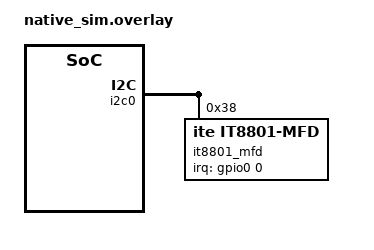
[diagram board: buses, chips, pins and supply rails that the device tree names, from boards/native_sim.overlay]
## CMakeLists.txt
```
# SPDX-License-Identifier: Apache-2.0

cmake_minimum_required(VERSION 3.20.0)
find_package(Zephyr REQUIRED HINTS $ENV{ZEPHYR_BASE})

project(input_ite_it8801_kbd)

file(GLOB app_sources src/*.c)
target_sources(app PRIVATE ${app_sources})
```

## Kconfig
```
# Copyright (c) 2026 Intel Corporation
# SPDX-License-Identifier: Apache-2.0

source "Kconfig.zephyr"
```

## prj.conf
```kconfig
# SPDX-License-Identifier: Apache-2.0

CONFIG_ZTEST=y

CONFIG_GPIO=y
CONFIG_I2C=y
CONFIG_EMUL=y

CONFIG_INPUT=y
CONFIG_INPUT_MODE_SYNCHRONOUS=y
CONFIG_INPUT_ITE_IT8801_KBD=y

CONFIG_MFD=y

CONFIG_PM_DEVICE=y
```

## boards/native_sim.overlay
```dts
/*
 * Copyright (c) 2026 Intel Corporation
 *
 * SPDX-License-Identifier: Apache-2.0
 */

#include <zephyr/dt-bindings/mfd/mfd_it8801_altctrl.h>

/ {
	it8801-mfd {
		#address-cells = <1>;
		#size-cells = <1>;

		it8801_gpio0: gpiocr@0a {
			compatible = "ite,it8801-altctrl";
			reg = <0x0a 8>;
			#altctrl-cells = <2>;
		};
	};

	it8801-mfd-map {
		compatible = "ite,it8801-mfd-map";

		kso18_gp01_default: kso18_gp01_default {
			altctrls = <&it8801_gpio0 1 IT8801_ALT_FUNC_2>;
		};
	};
};

&i2c0 {
	it8801_mfd: it8801@38 {
		compatible = "ite,it8801-mfd";
		reg = <0x38>;
		irq-gpios = <&gpio0 0 0>;
		zephyr,deferred-init;
		#address-cells = <1>;
		#size-cells = <1>;

		it8801_kbd: it8801_kbd@40 {
			compatible = "ite,it8801-kbd";
			reg = <0x40 1
			       0x41 1
			       0x42 1
			       0x43 1>;
			row-size = <8>;
			col-size = <3>;
			kso-mapping = <0x02 0x00 0x01>;
			mfdctrl = <&kso18_gp01_default>;
			zephyr,deferred-init;
		};
	};
};
```

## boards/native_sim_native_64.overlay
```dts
/*
 * Copyright (c) 2026 Intel Corporation
 *
 * SPDX-License-Identifier: Apache-2.0
 */

#include "native_sim.overlay"
```

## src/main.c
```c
/*
 * Copyright (c) 2026 Intel Corporation
 *
 * SPDX-License-Identifier: Apache-2.0
 */

#include <zephyr/device.h>
#include <zephyr/drivers/emul.h>
#include <zephyr/drivers/mfd/emul_ite_it8801.h>
#include <zephyr/drivers/mfd/mfd_ite_it8801.h>
#include <zephyr/input/input.h>
#include <zephyr/input/input_kbd_matrix.h>
#include <zephyr/kernel.h>
#include <zephyr/pm/device.h>
#include <zephyr/ztest.h>

#define IT8801_MFD_NODE DT_NODELABEL(it8801_mfd)
#define IT8801_KBD_NODE DT_NODELABEL(it8801_kbd)

#define REG_KSOMCR DT_REG_ADDR_BY_IDX(IT8801_KBD_NODE, 0)
#define REG_KSIDR  DT_REG_ADDR_BY_IDX(IT8801_KBD_NODE, 1)
#define REG_KSIEER DT_REG_ADDR_BY_IDX(IT8801_KBD_NODE, 2)
#define REG_KSIIER DT_REG_ADDR_BY_IDX(IT8801_KBD_NODE, 3)

/* GPIO control register of the pin switched to KSO18 by the kbd mfdctrl */
#define KSO18_GPIOCR_NODE DT_PHANDLE(DT_NODELABEL(kso18_gp01_default), altctrls)
#define REG_KSO18_GPIOCR                                                                           \
	(DT_REG_ADDR(KSO18_GPIOCR_NODE) + DT_PHA(DT_NODELABEL(kso18_gp01_default), altctrls, pin))

static const struct device *const kbd_dev = DEVICE_DT_GET(IT8801_KBD_NODE);
static const struct device *const mfd_dev = DEVICE_DT_GET(IT8801_MFD_NODE);
static const struct emul *const emul = EMUL_DT_GET(IT8801_MFD_NODE);

/* Scan-out line wired to each keyboard column */
static const uint8_t kso_mapping[] = DT_PROP(IT8801_KBD_NODE, kso_mapping);

static struct {
	int row;
	int col;
	int val;
	int count;
} test_event;

static int checked_event_count;

static void test_cb(struct input_event *evt, void *user_data)
{
	static int row, col, val;

	ARG_UNUSED(user_data);

	switch (evt->code) {
	case INPUT_ABS_X:
		col = evt->value;
		break;
	case INPUT_ABS_Y:
		row = evt->value;
		break;
	case INPUT_BTN_TOUCH:
		val = evt->value;
		break;
	}

	if (evt->sync) {
		test_event.row = row;
		test_event.col = col;
		test_event.val = val;
		test_event.count++;
		TC_PRINT("input event: count=%d row=%d col=%d val=%d\n", test_event.count, row,
			 col, val);
	}
}
INPUT_CALLBACK_DEFINE(DEVICE_DT_GET(IT8801_KBD_NODE), test_cb, NULL);

#define assert_no_new_events()                                                                     \
	zassert_equal(checked_event_count, test_event.count, "unexpected input event")

#define assert_new_event(_row, _col, _val)                                                         \
	do {                                                                                       \
		checked_event_count++;                                                             \
		zassert_equal(checked_event_count, test_event.count, "missing input event");       \
		zassert_equal(test_event.row, (_row), "row");                                      \
		zassert_equal(test_event.col, (_col), "col");                                      \
		zassert_equal(test_event.val, (_val), "val");                                      \
	} while (false)

static const struct input_kbd_matrix_common_config *kbd_cfg(void)
{
	return kbd_dev->config;
}

static uint8_t emul_reg(uint8_t reg)
{
	uint8_t val = 0;

	zassert_ok(it8801_emul_get_reg(emul, reg, &val));
	return val;
}

static void set_key(int row, int col, bool pressed)
{
	zassert_ok(it8801_emul_set_key(emul, kso_mapping[col], row, pressed));
}

/* Time between matrix scans: the poll period rounded up to whole ticks. */
static uint32_t scan_period_us(void)
{
	return k_ticks_to_us_ceil32(k_us_to_ticks_ceil32(kbd_cfg()->poll_period_us));
}

/*
 * A key change is picked up by the next scan and reported by the first scan
 * after the debounce time, so allow two scan periods on top of it.
 */
static void wait_debounce_down(void)
{
	k_sleep(K_USEC(kbd_cfg()->debounce_down_us + 2 * scan_period_us()));
}

static void wait_debounce_up(void)
{
	k_sleep(K_USEC(kbd_cfg()->debounce_up_us + 2 * scan_period_us()));
}

/* Wait for the scan thread to time out and fall back to detect mode. */
static void wait_poll_timeout(void)
{
	k_sleep(K_MSEC(kbd_cfg()->poll_timeout_ms * 3 / 2));
}

static void assert_detect_mode(void)
{
	zassert_equal(it8801_emul_get_driven_column(emul, REG_KSOMCR), IT8801_EMUL_COLUMN_ALL,
		      "detect mode should drive all columns");
	zassert_equal(emul_reg(REG_KSIIER), 0xFF, "detect mode should enable KSI interrupts");
	zassert_equal(emul_reg(REG_KSIEER), 0x00, "no KSI edge event should be pending");
}

/* Let a device whose deferred init failed be initialized again. */
static void reset_failed_init(const struct device *dev)
{
	if (dev->state->initialized && dev->state->init_res != 0) {
		dev->state->initialized = false;
		dev->state->init_res = 0;
	}
}

/*
 * Initialization errors. Both the MFD and the keyboard use deferred init;
 * every case fails before the keyboard scan thread is created, so a failed
 * init can be retried. The MFD is left initialized for the kbd_scan suite.
 */

static void init_before(void *fixture)
{
	ARG_UNUSED(fixture);

	it8801_emul_reset(emul);
}

static void init_after(void *fixture)
{
	ARG_UNUSED(fixture);

	it8801_emul_set_read_fail(emul, 0, 0);
	it8801_emul_set_write_fail(emul, 0, 0);
	reset_failed_init(kbd_dev);
	reset_failed_init(mfd_dev);
}

/* Runs before test_init_reg_write_fail, while the MFD is still uninitialized. */
ZTEST(kbd_init, test_init_mfd_not_ready)
{
	zassert_ok(it8801_emul_set_reg(emul, IT8801_REG_HBVIDR, 0x00));

	zassert_equal(device_init(mfd_dev), -ENODEV, "MFD should reject a wrong vendor ID");
	zassert_equal(device_init(kbd_dev), -ENODEV, "kbd should fail without its MFD parent");
}

ZTEST(kbd_init, test_init_reg_write_fail)
{
	/* Registers the keyboard init writes, each fatal when the write fails */
	static const uint8_t regs[] = {
		REG_KSO18_GPIOCR,
		REG_KSOMCR,
		IT8801_REG_GIECR,
		IT8801_REG_SMBCR,
	};

	zassert_ok(device_init(mfd_dev));

	for (size_t i = 0; i < ARRAY_SIZE(regs); i++) {
		it8801_emul_set_write_fail(emul, regs[i], IT8801_EMUL_FAIL_ALWAYS);

		zassert_equal(device_init(kbd_dev), -EIO,
			      "kbd init should fail on a write error to reg 0x%02x", regs[i]);

		it8801_emul_set_write_fail(emul, regs[i], 0);
		reset_failed_init(kbd_dev);
	}
}

ZTEST_SUITE(kbd_init, NULL, NULL, init_before, init_after, NULL);

/*
 * Key scanning. The keyboard is initialized once; each case starts and ends
 * with every key released and the scan thread back in detect mode.
 */

static void *scan_setup(void)
{
	if (!device_is_ready(mfd_dev)) {
		zassert_ok(device_init(mfd_dev));
	}
	zassert_ok(device_init(kbd_dev));

	/* Let the scan thread arm detect mode. */
	k_sleep(K_MSEC(1));

	return NULL;
}

static void scan_before(void *fixture)
{
	ARG_UNUSED(fixture);

	checked_event_count = test_event.count;
}

static void scan_after(void *fixture)
{
	ARG_UNUSED(fixture);

	it8801_emul_set_read_fail(emul, 0, 0);
	it8801_emul_set_write_fail(emul, 0, 0);
	wait_poll_timeout();
}

static void press_key(int row, int col)
{
	set_key(row, col, true);
	wait_debounce_down();
	assert_new_event(row, col, 1);
}

static void release_key(int row, int col)
{
	set_key(row, col, false);
	wait_debounce_up();
	assert_new_event(row, col, 0);
}

ZTEST(kbd_scan, test_init_state)
{
	zassert_equal(emul_reg(REG_KSO18_GPIOCR) & GENMASK(7, 6), IT8801_GPIOAFS_FUN2 << 6,
		      "mfdctrl pin should be switched to its KSO function");
	zassert_equal(emul_reg(IT8801_REG_GIECR), IT8801_REG_MASK_GKSIIE,
		      "gather KSI interrupt should be enabled");
	zassert_equal(emul_reg(IT8801_REG_SMBCR), IT8801_REG_MASK_ARE,
		      "SMBus alert response should be enabled");
	assert_detect_mode();
	assert_no_new_events();
}

ZTEST(kbd_scan, test_key_press_release)
{
	set_key(3, 1, true);
	wait_debounce_down();
	assert_new_event(3, 1, 1);

	set_key(3, 1, false);
	wait_debounce_up();
	assert_new_event(3, 1, 0);

	wait_poll_timeout();
	assert_no_new_events();
}

ZTEST(kbd_scan, test_multiple_keys)
{
	set_key(0, 0, true);
	wait_debounce_down();
	assert_new_event(0, 0, 1);

	set_key(5, 2, true);
	wait_debounce_down();
	assert_new_event(5, 2, 1);

	set_key(0, 0, false);
	wait_debounce_up();
	assert_new_event(0, 0, 0);

	set_key(5, 2, false);
	wait_debounce_up();
	assert_new_event(5, 2, 0);

	wait_poll_timeout();
	assert_no_new_events();
}

ZTEST(kbd_scan, test_kso_mapping)
{
	/* A key on KSO line kso_mapping[col] must be reported in column col. */
	for (int col = 0; col < (int)ARRAY_SIZE(kso_mapping); col++) {
		set_key(col, col, true);
		wait_debounce_down();
		assert_new_event(col, col, 1);

		set_key(col, col, false);
		wait_debounce_up();
		assert_new_event(col, col, 0);
	}

	wait_poll_timeout();
	assert_no_new_events();
}

ZTEST(kbd_scan, test_detect_mode_rearmed)
{
	set_key(7, 0, true);
	wait_debounce_down();
	assert_new_event(7, 0, 1);

	/* Scanning: the alert was acknowledged and KSI interrupts are off. */
	zassert_equal(emul_reg(REG_KSIEER), 0x00, "alert handler should clear KSI events");
	zassert_equal(emul_reg(REG_KSIIER), 0x00, "KSI interrupts should be off while polling");

	set_key(7, 0, false);
	wait_debounce_up();
	assert_new_event(7, 0, 0);

	wait_poll_timeout();
	assert_detect_mode();

	/* A new press must be picked up through the interrupt again. */
	set_key(7, 0, true);
	wait_debounce_down();
	assert_new_event(7, 0, 1);

	set_key(7, 0, false);
	wait_debounce_up();
	assert_new_event(7, 0, 0);
}

/*
 * I2C failures. Each case fails a single register access at a known point
 * of the scan cycle and checks the events reported around it.
 */

ZTEST(kbd_scan, test_fault_detect_disable)
{
	/* Fail the write that disables KSI interrupts when scanning starts. */
	it8801_emul_set_write_fail(emul, REG_KSIIER, 1);

	press_key(2, 1);
	release_key(2, 1);

	/*
	 * With KSI interrupts left enabled the column scan itself raises
	 * alerts, which queue one more polling round before detect mode.
	 */
	wait_poll_timeout();
	wait_poll_timeout();
	assert_detect_mode();
	assert_no_new_events();
}

ZTEST(kbd_scan, test_fault_drive_column)
{
	press_key(4, 2);

	/* One column select fails mid-scan; debouncing hides the misread. */
	it8801_emul_set_write_fail(emul, REG_KSOMCR, 1);
	wait_debounce_up();
	assert_no_new_events();

	release_key(4, 2);
}

ZTEST(kbd_scan, test_fault_read_row)
{
	press_key(6, 0);

	/* One row read fails mid-scan and reads as released; debouncing hides it. */
	it8801_emul_set_read_fail(emul, REG_KSIDR, 1);
	wait_debounce_up();
	assert_no_new_events();

	release_key(6, 0);
}

ZTEST(kbd_scan, test_fault_alert_status_read)
{
	/* A failed status read still acknowledges the alert and starts a scan. */
	it8801_emul_set_read_fail(emul, REG_KSIEER, 1);

	press_key(1, 2);
	zassert_equal(emul_reg(REG_KSIEER), 0x00, "alert should be acknowledged");

	release_key(1, 2);
}

ZTEST(kbd_scan, test_fault_alert_clear)
{
	/* A failed acknowledge still starts a scan. */
	it8801_emul_set_write_fail(emul, REG_KSIEER, 1);

	press_key(5, 1);
	zassert_not_equal(emul_reg(REG_KSIEER), 0x00, "KSI edge event should stay pending");

	release_key(5, 1);

	/* Re-arming detect mode clears the pending event. */
	wait_poll_timeout();
	assert_detect_mode();
}

/* Fail the write to @p reg that re-arms detect mode after a poll timeout. */
static void check_rearm_fault(uint8_t reg)
{
	press_key(1, 0);
	it8801_emul_set_write_fail(emul, reg, 1);
	release_key(1, 0);

	wait_poll_timeout();
	zassert_equal(emul_reg(REG_KSIIER), 0x00, "detect mode should not be armed");

	/* Without detect mode a key press goes unnoticed. */
	set_key(1, 0, true);
	wait_debounce_down();
	assert_no_new_events();

	/* A PM suspend and resume restarts scanning. */
	zassert_ok(pm_device_action_run(kbd_dev, PM_DEVICE_ACTION_SUSPEND));
	zassert_ok(pm_device_action_run(kbd_dev, PM_DEVICE_ACTION_RESUME));
	wait_debounce_down();
	assert_new_event(1, 0, 1);

	release_key(1, 0);
	wait_poll_timeout();
	assert_detect_mode();
}

ZTEST(kbd_scan, test_fault_rearm_clear)
{
	check_rearm_fault(REG_KSIEER);
}

ZTEST(kbd_scan, test_fault_rearm_enable)
{
	check_rearm_fault(REG_KSIIER);
}

ZTEST_SUITE(kbd_scan, NULL, scan_setup, scan_before, scan_after, NULL);

void test_main(void)
{
	/* kbd_init needs the MFD and keyboard still uninitialized. */
	ztest_run_test_suite(kbd_init, false, 1, 1, NULL);
	ztest_run_test_suite(kbd_scan, false, 1, 1, NULL);
}
```

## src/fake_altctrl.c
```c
/*
 * Copyright (c) 2026 Intel Corporation
 *
 * SPDX-License-Identifier: Apache-2.0
 */

/*
 * The real altctrl driver is not compiled (CONFIG_MFD_ITE_IT8801=n), but
 * DEVICE_DT_GET references in the KBD driver's mfdctrl macros require device
 * structs to exist. Create minimal stub devices for any it8801-altctrl nodes
 * in the device tree.
 */

#include <zephyr/device.h>
#include <zephyr/drivers/emul_stub_device.h>

#define DT_DRV_COMPAT ite_it8801_altctrl

DT_INST_FOREACH_STATUS_OKAY(EMUL_STUB_DEVICE);
```

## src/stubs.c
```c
/*
 * Copyright (c) 2026 Intel Corporation
 *
 * SPDX-License-Identifier: Apache-2.0
 */

/*
 * Stub implementations of MFD IT8801 functions that are not compiled when
 * CONFIG_MFD_ITE_IT8801=n. These stubs let the keyboard driver be tested in
 * isolation while giving the test full control over MFD behavior.
 */

#include <stddef.h>
#include <stdint.h>

#include <zephyr/device.h>
#include <zephyr/drivers/i2c.h>
#include <zephyr/drivers/mfd/mfd_ite_it8801.h>

static struct it8801_mfd_callback *registered_callback;
static int configure_pins_retval;
static int configure_pins_call_count;

int mfd_it8801_configure_pins(const struct i2c_dt_spec *i2c_dev,
			      const struct device *dev, uint8_t pin,
			      uint8_t func)
{
	ARG_UNUSED(i2c_dev);
	ARG_UNUSED(dev);
	ARG_UNUSED(pin);
	ARG_UNUSED(func);

	configure_pins_call_count++;
	return configure_pins_retval;
}

void mfd_it8801_register_interrupt_callback(
	const struct device *mfd, struct it8801_mfd_callback *callback)
{
	ARG_UNUSED(mfd);

	registered_callback = callback;
}

struct it8801_mfd_callback *test_get_registered_callback(void)
{
	return registered_callback;
}

void test_set_configure_pins_retval(int retval)
{
	configure_pins_retval = retval;
}

int test_get_configure_pins_call_count(void)
{
	return configure_pins_call_count;
}

void test_reset_stubs(void)
{
	registered_callback = NULL;
	configure_pins_retval = 0;
	configure_pins_call_count = 0;
}
```
